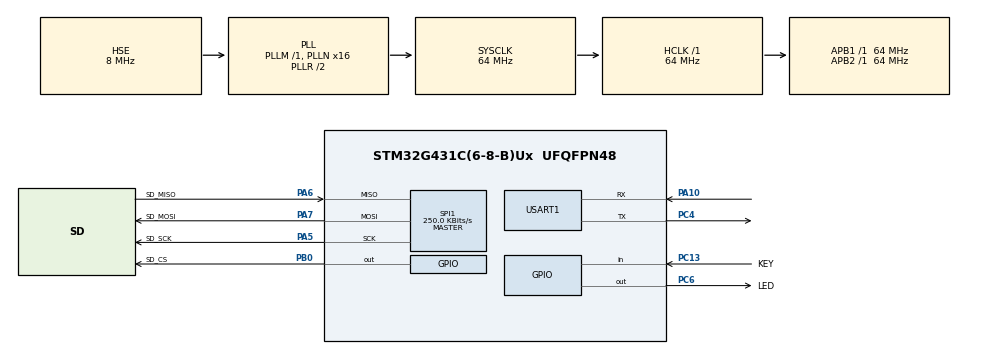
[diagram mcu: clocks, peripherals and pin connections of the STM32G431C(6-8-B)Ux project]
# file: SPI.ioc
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FATFS._CODE_PAGE=855
FATFS._FS_EXFAT=0
FATFS._FS_LOCK=2
FATFS._MULTI_PARTITION=0
FATFS._USE_CHMOD=0
FATFS._USE_EXPAND=1
FATFS._USE_FIND=1
FATFS._USE_FORWARD=0
FATFS._USE_LABEL=0
FATFS._USE_LFN=1
Mcu.Family=STM32G4
Mcu.Name=STM32G431C(6-8-B)Ux
Mcu.Package=UFQFPN48
NVIC.PriorityGroup=NVIC_PRIORITYGROUP_4
NVIC.SPI1_IRQn=true\:0\:0\:false\:false\:true\:true\:true\:true
PA10.Mode=Asynchronous
PA10.Signal=USART1_RX
PA13.Mode=Trace_Asynchronous_SW
PA13.Signal=SYS_JTMS-SWDIO
PA14.Mode=Trace_Asynchronous_SW
PA14.Signal=SYS_JTCK-SWCLK
PA5.GPIO_Label=SD_SCK
PA5.GPIO_PuPd=GPIO_PULLUP
PA5.GPIO_Speed=GPIO_SPEED_FREQ_VERY_HIGH
PA5.Mode=Full_Duplex_Master
PA5.Signal=SPI1_SCK
PA6.GPIO_Label=SD_MISO
PA6.GPIO_PuPd=GPIO_PULLUP
PA6.GPIO_Speed=GPIO_SPEED_FREQ_VERY_HIGH
PA6.Mode=Full_Duplex_Master
PA6.Signal=SPI1_MISO
PA7.GPIO_Label=SD_MOSI
PA7.GPIO_PuPd=GPIO_PULLUP
PA7.GPIO_Speed=GPIO_SPEED_FREQ_VERY_HIGH
PA7.Mode=Full_Duplex_Master
PA7.Signal=SPI1_MOSI
PB0.GPIO_Label=SD_CS
PB0.GPIO_PuPd=GPIO_PULLUP
PB0.PinState=GPIO_PIN_SET
PB0.Signal=GPIO_Output
PB3.Mode=Trace_Asynchronous_SW
PB3.Signal=SYS_JTDO-SWO
PC13.GPIO_Label=KEY
PC13.GPIO_PuPd=GPIO_PULLDOWN
PC13.Signal=GPIO_Input
PC4.Mode=Asynchronous
PC4.Signal=USART1_TX
PC6.GPIO_Label=LED
PC6.GPIO_ModeDefaultOutputPP=GPIO_MODE_OUTPUT_PP
PC6.GPIO_Speed=GPIO_SPEED_FREQ_LOW
PC6.PinState=GPIO_PIN_RESET
PC6.Signal=GPIO_Output
PF0-OSC_IN.Mode=HSE-External-Oscillator
PF0-OSC_IN.Signal=RCC_OSC_IN
PF1-OSC_OUT.Mode=HSE-External-Oscillator
PF1-OSC_OUT.Signal=RCC_OSC_OUT
ProjectManager.HeapSize=0x200
ProjectManager.StackSize=0x400
ProjectManager.TargetToolchain=STM32CubeIDE
RCC.ADC12Freq_Value=64000000
RCC.AHBFreq_Value=64000000
RCC.APB1Freq_Value=64000000
RCC.APB1TimFreq_Value=64000000
RCC.APB2Freq_Value=64000000
RCC.APB2TimFreq_Value=64000000
RCC.CortexFreq_Value=64000000
RCC.EXTERNAL_CLOCK_VALUE=12288000
RCC.HCLKFreq_Value=64000000
RCC.HSE_VALUE=8000000
RCC.HSI48_VALUE=48000000
RCC.HSI_VALUE=16000000
RCC.LSE_VALUE=32768
RCC.PLLN=16
RCC.PLLSourceVirtual=RCC_PLLSOURCE_HSE
RCC.SYSCLKFreq_VALUE=64000000
RCC.SYSCLKSource=RCC_SYSCLKSOURCE_PLLCLK
RCC.USBFreq_Value=64000000
RCC.VCOOutputFreq_Value=128000000
SPI1.BaudRatePrescaler=SPI_BAUDRATEPRESCALER_256
SPI1.CalculateBaudRate=250.0 KBits/s
SPI1.DataSize=SPI_DATASIZE_8BIT
SPI1.Direction=SPI_DIRECTION_2LINES
SPI1.Mode=SPI_MODE_MASTER
SPI1.VirtualType=VM_MASTER
USART1.VirtualMode-Asynchronous=VM_ASYNC
VP_FATFS_VS_Generic.Mode=User_defined
VP_SYS_VS_DBSignals.Mode=DisableDeadBatterySignals
board=custom

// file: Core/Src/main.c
/* USER CODE BEGIN Header */
/**
  ******************************************************************************
  * @file           : main.c
  * @brief          : Main program body
  ******************************************************************************
  * @attention
  *
  * Copyright (c) 2025 STMicroelectronics.
  * All rights reserved.
  *
  * This software is licensed under terms that can be found in the LICENSE file
  * in the root directory of this software component.
  * If no LICENSE file comes with this software, it is provided AS-IS.
  *
  ******************************************************************************
  */
/* USER CODE END Header */
#include "main.h"
#include "app_fatfs.h"

/* USER CODE BEGIN Includes */
#include "console.h"
#include "string.h"
/* USER CODE END Includes */

SPI_HandleTypeDef hspi1;

UART_HandleTypeDef huart1;

/* USER CODE BEGIN PV */
char read_buf[1024];
/* USER CODE END PV */

void SystemClock_Config(void);
static void MX_GPIO_Init(void);
static void MX_USART1_UART_Init(void);
static void MX_SPI1_Init(void);

/* USER CODE BEGIN 0 */
void ls() {

    FRESULT res;
    DIR dir;
    char *path;

    path = ""; // where you want to list

    res = f_opendir(&dir, path);

    if (res == FR_OK) {
        while (1) {
            FILINFO fno;
            res = f_readdir(&dir, &fno);
            if ((res != FR_OK) || (fno.fname[0] == 0)) {
                break;
            }

            printf("%c%c%c%c %12d %s/%s\r\n",
                    ((fno.fattrib & AM_DIR) ? 'D' : '-'),
                    ((fno.fattrib & AM_RDO) ? 'R' : '-'),
                    ((fno.fattrib & AM_SYS) ? 'S' : '-'),
                    ((fno.fattrib & AM_HID) ? 'H' : '-'),
                    (unsigned int) fno.fsize, path, fno.fname);
        }
    }

    uint32_t freeClust;
    FATFS *fs_ptr; // = &USERFatFs;
    res = f_getfree("", &freeClust, &fs_ptr); // Warning! This fills fs.n_fatent and fs.csize!
    if (res == FR_OK) {
        uint32_t totalBlocks = (fs_ptr->n_fatent - 2) * fs_ptr->csize;
        uint32_t freeBlocks = freeClust * fs_ptr->csize;
        printf("\r\n");
        printf("Total blocks: %lu (%lu Mb)\r\n", totalBlocks, totalBlocks / 2000);
        printf("Free blocks: %lu (%lu Mb)\r\n", freeBlocks, freeBlocks / 2000);

    } else {
        printf("f_getfree() failed, res = %d\r\n", res);
    }

}

/* USER CODE END 0 */

int main(void)
{

  /* MCU Configuration--------------------------------------------------------*/

  /* Reset of all peripherals, Initializes the Flash interface and the Systick. */
  HAL_Init();

  /* Configure the system clock */
  SystemClock_Config();

  /* Initialize all configured peripherals */
  MX_GPIO_Init();
  MX_USART1_UART_Init();
  MX_SPI1_Init();
  if (MX_FATFS_Init() != APP_OK) {
    Error_Handler();
  }
  /* USER CODE BEGIN 2 */

  printf("\r\nStarting...\r\n");
  HAL_Delay(500); // Need delay to SD Card get ready

  printf("Mounting..\r\n");
  if (f_mount(&USERFatFs, "", 0) != FR_OK) {
      printf("Unable to mount disk\r\n");
      Error_Handler();
  } else {
	  printf("Disk mounted\r\n");
  }

  ////////////////
  // Write To File
  ////////////////
  printf("\r\n\r\n Write to file\r\n\r\n");

  const char filename[] = "newfile.txt";
  const char write_buf[] = "This is a text is written in New File!";
  uint32_t wbytes;

  if (f_open(&USERFile, filename, FA_CREATE_ALWAYS | FA_WRITE) == FR_OK) {
      if (f_write(&USERFile, &write_buf, sizeof(write_buf), (void*) &wbytes) == FR_OK) {
          printf("File %s created\r\n", filename);
          printf("%ld bytes written\r\n", wbytes);
          f_close(&USERFile);
      } else {
          printf("Unable to write\r\n");
          Error_Handler();
      }
  } else {
      printf("Unable to create file\r\n");
      Error_Handler();
  }

  HAL_Delay(100);

  ////////////////
  // Append To File
  ////////////////
  printf("\r\n\r\n Append to file\r\n\r\n");

  //const char filename[] = "newfile.txt";
  const char append_buf[] = "\r\nThis is a second line in New File.";
  //uint32_t wbytes;

  if (f_open(&USERFile, filename, FA_OPEN_APPEND | FA_WRITE) == FR_OK) { // FA_OPEN_EXISTING | FA_WRITE - open exists file for writing
      if (f_write(&USERFile, &append_buf, sizeof(append_buf), (void*) &wbytes) == FR_OK) {
          printf("Append line to %s file\r\n", filename);
          printf("%ld bytes written\r\n", wbytes);
          f_close(&USERFile);
      } else {
          printf("Unable to write\r\n");
          Error_Handler();
      }
  } else {
      printf("Unable to open file\r\n");
      Error_Handler();
  }

  HAL_Delay(100);

  ////////////////
  // Read from file
  ////////////////
  printf("\r\n\r\n Reading from file\r\n\r\n");
  //const char filename[] = "newfile.txt";
  //char read_buf[1024];
  uint32_t rbytes;

  if (f_open(&USERFile, filename, FA_OPEN_EXISTING | FA_READ) == FR_OK) {
	  printf("Open file%s:\r\n", filename);
	  printf("----------\r\n");
	  while (f_read(&USERFile, &read_buf, sizeof(read_buf), (void*) &rbytes) == FR_OK) {

		  // Replace chars 0x00 to 32 (space) to correctly print the buffer
		  for (uint16_t i=0; i<rbytes; i++) {
			  if (read_buf[i] == 0x00) {
				  read_buf[i] = 32;
			  }
		  }

		  printf("%s", read_buf);
		  if (rbytes < sizeof(read_buf)) {
			  break;
		  }
	  }
	  printf("\r\n----------\r\n");
	  f_close(&USERFile);
  } else {
	  printf("Unable to open %s\r\n", filename);
  }

  ////////////////
  // File listing
  ////////////////
  printf("\r\n\r\n File listing\r\n\r\n");
  ls();

  /* USER CODE END 2 */

  /* Infinite loop */
  /* USER CODE BEGIN WHILE */
  while (1)
  {
	  //printf(".\r\n");
	  HAL_Delay(1000);

    /* USER CODE END WHILE */

  }
}

void SystemClock_Config(void)
{
  RCC_OscInitTypeDef RCC_OscInitStruct = {0};
  RCC_ClkInitTypeDef RCC_ClkInitStruct = {0};

  /** Configure the main internal regulator output voltage
  */
  HAL_PWREx_ControlVoltageScaling(PWR_REGULATOR_VOLTAGE_SCALE1);

  /** Initializes the RCC Oscillators according to the specified parameters
  * in the RCC_OscInitTypeDef structure.
  */
  RCC_OscInitStruct.OscillatorType = RCC_OSCILLATORTYPE_HSE;
  RCC_OscInitStruct.HSEState = RCC_HSE_ON;
  RCC_OscInitStruct.PLL.PLLState = RCC_PLL_ON;
  RCC_OscInitStruct.PLL.PLLSource = RCC_PLLSOURCE_HSE;
  RCC_OscInitStruct.PLL.PLLM = RCC_PLLM_DIV1;
  RCC_OscInitStruct.PLL.PLLN = 16;
  RCC_OscInitStruct.PLL.PLLP = RCC_PLLP_DIV2;
  RCC_OscInitStruct.PLL.PLLQ = RCC_PLLQ_DIV2;
  RCC_OscInitStruct.PLL.PLLR = RCC_PLLR_DIV2;
  if (HAL_RCC_OscConfig(&RCC_OscInitStruct) != HAL_OK)
  {
    Error_Handler();
  }

  /** Initializes the CPU, AHB and APB buses clocks
  */
  RCC_ClkInitStruct.ClockType = RCC_CLOCKTYPE_HCLK|RCC_CLOCKTYPE_SYSCLK
                              |RCC_CLOCKTYPE_PCLK1|RCC_CLOCKTYPE_PCLK2;
  RCC_ClkInitStruct.SYSCLKSource = RCC_SYSCLKSOURCE_PLLCLK;
  RCC_ClkInitStruct.AHBCLKDivider = RCC_SYSCLK_DIV1;
  RCC_ClkInitStruct.APB1CLKDivider = RCC_HCLK_DIV1;
  RCC_ClkInitStruct.APB2CLKDivider = RCC_HCLK_DIV1;

  if (HAL_RCC_ClockConfig(&RCC_ClkInitStruct, FLASH_LATENCY_2) != HAL_OK)
  {
    Error_Handler();
  }
}

static void MX_SPI1_Init(void)
{

  /* SPI1 parameter configuration*/
  hspi1.Instance = SPI1;
  hspi1.Init.Mode = SPI_MODE_MASTER;
  hspi1.Init.Direction = SPI_DIRECTION_2LINES;
  hspi1.Init.DataSize = SPI_DATASIZE_8BIT;
  hspi1.Init.CLKPolarity = SPI_POLARITY_LOW;
  hspi1.Init.CLKPhase = SPI_PHASE_1EDGE;
  hspi1.Init.NSS = SPI_NSS_SOFT;
  hspi1.Init.BaudRatePrescaler = SPI_BAUDRATEPRESCALER_256;
  hspi1.Init.FirstBit = SPI_FIRSTBIT_MSB;
  hspi1.Init.TIMode = SPI_TIMODE_DISABLE;
  hspi1.Init.CRCCalculation = SPI_CRCCALCULATION_DISABLE;
  hspi1.Init.CRCPolynomial = 7;
  hspi1.Init.CRCLength = SPI_CRC_LENGTH_DATASIZE;
  hspi1.Init.NSSPMode = SPI_NSS_PULSE_ENABLE;
  if (HAL_SPI_Init(&hspi1) != HAL_OK)
  {
    Error_Handler();
  }

}

static void MX_USART1_UART_Init(void)
{

  huart1.Instance = USART1;
  huart1.Init.BaudRate = 115200;
  huart1.Init.WordLength = UART_WORDLENGTH_8B;
  huart1.Init.StopBits = UART_STOPBITS_1;
  huart1.Init.Parity = UART_PARITY_NONE;
  huart1.Init.Mode = UART_MODE_TX_RX;
  huart1.Init.HwFlowCtl = UART_HWCONTROL_NONE;
  huart1.Init.OverSampling = UART_OVERSAMPLING_16;
  huart1.Init.OneBitSampling = UART_ONE_BIT_SAMPLE_DISABLE;
  huart1.Init.ClockPrescaler = UART_PRESCALER_DIV1;
  huart1.AdvancedInit.AdvFeatureInit = UART_ADVFEATURE_NO_INIT;
  if (HAL_UART_Init(&huart1) != HAL_OK)
  {
    Error_Handler();
  }
  if (HAL_UARTEx_SetTxFifoThreshold(&huart1, UART_TXFIFO_THRESHOLD_1_8) != HAL_OK)
  {
    Error_Handler();
  }
  if (HAL_UARTEx_SetRxFifoThreshold(&huart1, UART_RXFIFO_THRESHOLD_1_8) != HAL_OK)
  {
    Error_Handler();
  }
  if (HAL_UARTEx_DisableFifoMode(&huart1) != HAL_OK)
  {
    Error_Handler();
  }

}

static void MX_GPIO_Init(void)
{
  GPIO_InitTypeDef GPIO_InitStruct = {0};

  /* GPIO Ports Clock Enable */
  __HAL_RCC_GPIOC_CLK_ENABLE();
  __HAL_RCC_GPIOF_CLK_ENABLE();
  __HAL_RCC_GPIOA_CLK_ENABLE();
  __HAL_RCC_GPIOB_CLK_ENABLE();

  /*Configure GPIO pin Output Level */
  HAL_GPIO_WritePin(SD_CS_GPIO_Port, SD_CS_Pin, GPIO_PIN_SET);

  /*Configure GPIO pin Output Level */
  HAL_GPIO_WritePin(LED_GPIO_Port, LED_Pin, GPIO_PIN_RESET);

  /*Configure GPIO pin : KEY_Pin */
  GPIO_InitStruct.Pin = KEY_Pin;
  GPIO_InitStruct.Mode = GPIO_MODE_INPUT;
  GPIO_InitStruct.Pull = GPIO_PULLDOWN;
  HAL_GPIO_Init(KEY_GPIO_Port, &GPIO_InitStruct);

  /*Configure GPIO pin : SD_CS_Pin */
  GPIO_InitStruct.Pin = SD_CS_Pin;
  GPIO_InitStruct.Mode = GPIO_MODE_OUTPUT_PP;
  GPIO_InitStruct.Pull = GPIO_PULLUP;
  GPIO_InitStruct.Speed = GPIO_SPEED_FREQ_LOW;
  HAL_GPIO_Init(SD_CS_GPIO_Port, &GPIO_InitStruct);

  /*Configure GPIO pin : LED_Pin */
  GPIO_InitStruct.Pin = LED_Pin;
  GPIO_InitStruct.Mode = GPIO_MODE_OUTPUT_PP;
  GPIO_InitStruct.Pull = GPIO_NOPULL;
  GPIO_InitStruct.Speed = GPIO_SPEED_FREQ_LOW;
  HAL_GPIO_Init(LED_GPIO_Port, &GPIO_InitStruct);

}

void Error_Handler(void)
{
  __disable_irq();
  while (1)
  {
  }
}
